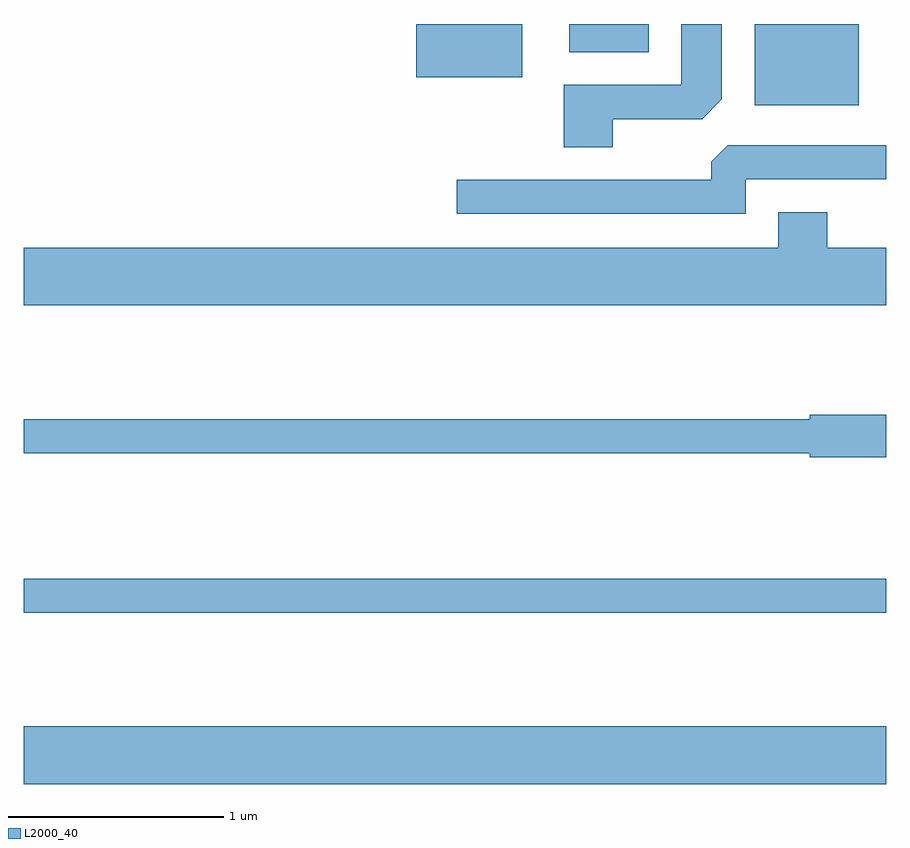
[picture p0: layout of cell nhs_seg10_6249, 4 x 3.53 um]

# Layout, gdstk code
import gdstk
lib = gdstk.Library(unit=1e-6, precision=1e-09)
def R(c, l, rs):  # rectangles x0, y0, x1, y1
    for r in rs: c.add(gdstk.rectangle(r[:2], r[2:], *l))
def P(c, l, *ps):  # polygons
    for p in ps: c.add(gdstk.Polygon(p, *l))
L2000_40 = (2000, 40)

nhs_seg10_6249 = lib.new_cell('nhs_seg10_6249')
R(nhs_seg10_6249, L2000_40, [(369.611,2144.996,373.611,2145.264), (369.611,2145.791,373.611,2145.949), (373.001,2148.146,373.484,2148.522), (371.431,2148.276,371.924,2148.522), (372.141,2148.391,372.509,2148.522)])
P(nhs_seg10_6249, L2000_40, [(372.344,2148.081),(372.759,2148.081),(372.849,2148.172),(372.849,2148.522),(372.661,2148.522),(372.661,2148.239),(372.116,2148.239),(372.116,2147.951),(372.344,2147.951)],
  [(372.959,2147.801),(373.611,2147.801),(373.611,2147.959),(372.877,2147.959),(372.801,2147.884),(372.801,2147.799),(371.618,2147.799),(371.618,2147.641),(372.959,2147.641)],
  [(373.611,2147.484),(373.339,2147.484),(373.339,2147.649),(373.111,2147.649),(373.111,2147.484),(369.611,2147.484),(369.611,2147.216),(373.611,2147.216)],
  [(373.611,2146.709),(373.256,2146.709),(373.256,2146.689),(369.611,2146.689),(369.611,2146.531),(373.256,2146.531),(373.256,2146.511),(373.611,2146.511)])

lib.write_gds('nhs_seg10_6249.gds')
